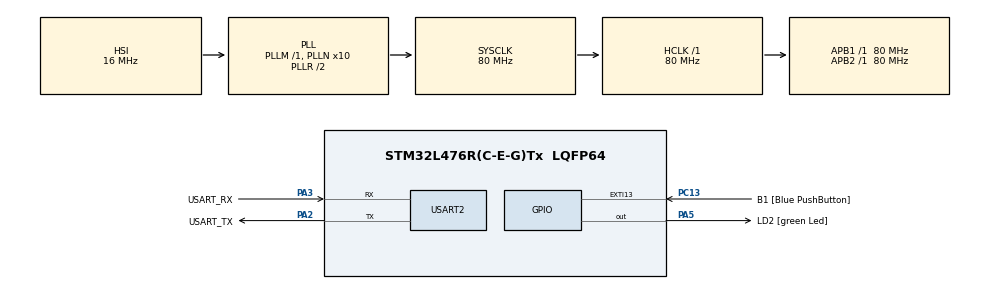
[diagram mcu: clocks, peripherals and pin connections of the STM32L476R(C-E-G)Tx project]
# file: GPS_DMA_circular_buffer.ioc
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Dma.Request0=USART2_RX
Dma.Request1=USART2_TX
Dma.USART2_RX.0.Direction=DMA_PERIPH_TO_MEMORY
Dma.USART2_RX.0.Instance=DMA1_Channel6
Dma.USART2_RX.0.MemDataAlignment=DMA_MDATAALIGN_BYTE
Dma.USART2_RX.0.MemInc=DMA_MINC_ENABLE
Dma.USART2_RX.0.Mode=DMA_CIRCULAR
Dma.USART2_RX.0.PeriphDataAlignment=DMA_PDATAALIGN_BYTE
Dma.USART2_RX.0.PeriphInc=DMA_PINC_DISABLE
Dma.USART2_RX.0.Priority=DMA_PRIORITY_LOW
Dma.USART2_TX.1.Direction=DMA_MEMORY_TO_PERIPH
Dma.USART2_TX.1.Instance=DMA1_Channel7
Dma.USART2_TX.1.MemDataAlignment=DMA_MDATAALIGN_BYTE
Dma.USART2_TX.1.MemInc=DMA_MINC_ENABLE
Dma.USART2_TX.1.Mode=DMA_CIRCULAR
Dma.USART2_TX.1.PeriphDataAlignment=DMA_PDATAALIGN_BYTE
Dma.USART2_TX.1.PeriphInc=DMA_PINC_DISABLE
Dma.USART2_TX.1.Priority=DMA_PRIORITY_LOW
Mcu.Family=STM32L4
Mcu.Name=STM32L476R(C-E-G)Tx
Mcu.Package=LQFP64
NVIC.DMA1_Channel6_IRQn=true\:0\:0\:false\:false\:true\:false\:true
NVIC.DMA1_Channel7_IRQn=true\:0\:0\:false\:false\:true\:false\:true
NVIC.PriorityGroup=NVIC_PRIORITYGROUP_4
NVIC.USART2_IRQn=true\:0\:0\:false\:false\:true\:true\:true
PA13\ (JTMS-SWDIO).GPIO_Label=TMS
PA13\ (JTMS-SWDIO).Mode=Serial_Wire
PA13\ (JTMS-SWDIO).Signal=SYS_JTMS-SWDIO
PA14\ (JTCK-SWCLK).GPIO_Label=TCK
PA14\ (JTCK-SWCLK).Mode=Serial_Wire
PA14\ (JTCK-SWCLK).Signal=SYS_JTCK-SWCLK
PA2.GPIO_Label=USART_TX
PA2.GPIO_Mode=GPIO_MODE_AF_PP
PA2.GPIO_PuPd=GPIO_NOPULL
PA2.GPIO_Speed=GPIO_SPEED_FREQ_VERY_HIGH
PA2.Mode=Asynchronous
PA2.Signal=USART2_TX
PA3.GPIO_Label=USART_RX
PA3.GPIO_Mode=GPIO_MODE_AF_PP
PA3.GPIO_PuPd=GPIO_NOPULL
PA3.GPIO_Speed=GPIO_SPEED_FREQ_VERY_HIGH
PA3.Mode=Asynchronous
PA3.Signal=USART2_RX
PA5.GPIO_Label=LD2 [green Led]
PA5.GPIO_ModeDefaultOutputPP=GPIO_MODE_OUTPUT_PP
PA5.GPIO_PuPd=GPIO_NOPULL
PA5.GPIO_Speed=GPIO_SPEED_FREQ_LOW
PA5.Signal=GPIO_Output
PB3\ (JTDO-TRACESWO).GPIO_Label=SWO
PB3\ (JTDO-TRACESWO).Signal=SYS_JTDO-SWO
PC13.GPIO_Label=B1 [Blue PushButton]
PC13.GPIO_ModeDefaultEXTI=GPIO_MODE_IT_FALLING
PC13.GPIO_PuPd=GPIO_NOPULL
PC13.Signal=GPXTI13
PC14-OSC32_IN\ (PC14).Mode=LSE-External-Oscillator
PC14-OSC32_IN\ (PC14).Signal=RCC_OSC32_IN
PC15-OSC32_OUT\ (PC15).Mode=LSE-External-Oscillator
PC15-OSC32_OUT\ (PC15).Signal=RCC_OSC32_OUT
PH0-OSC_IN\ (PH0).Signal=RCC_OSC_IN
PH1-OSC_OUT\ (PH1).Signal=RCC_OSC_OUT
ProjectManager.HeapSize=0x200
ProjectManager.StackSize=0x400
ProjectManager.TargetToolchain=STM32CubeIDE
RCC.ADCFreq_Value=64000000
RCC.AHBFreq_Value=80000000
RCC.APB1Freq_Value=80000000
RCC.APB1TimFreq_Value=80000000
RCC.APB2Freq_Value=80000000
RCC.APB2TimFreq_Value=80000000
RCC.CortexFreq_Value=80000000
RCC.HCLKFreq_Value=80000000
RCC.HSE_VALUE=8000000
RCC.HSI_VALUE=16000000
RCC.MSI_VALUE=4000000
RCC.PLLN=10
RCC.PLLSourceVirtual=RCC_PLLSOURCE_HSI
RCC.PREFETCH_ENABLE=1
RCC.SYSCLKFreq_VALUE=80000000
RCC.SYSCLKSource=RCC_SYSCLKSOURCE_PLLCLK
RCC.USBFreq_Value=64000000
RCC.VCOOutputFreq_Value=160000000
USART2.VirtualMode-Asynchronous=VM_ASYNC
board=NUCLEO-L476RG

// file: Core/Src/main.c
/* USER CODE BEGIN Header */
/**
  ******************************************************************************
  * @file           : main.c
  * @brief          : Main program body
  ******************************************************************************
  * @attention
  *
  * <h2><center>&copy; Copyright (c) 2020 STMicroelectronics.
  * All rights reserved.</center></h2>
  *
  * This software component is licensed by ST under BSD 3-Clause license,
  * the "License"; You may not use this file except in compliance with the
  * License. You may obtain a copy of the License at:
  *                        opensource.org/licenses/BSD-3-Clause
  *
  ******************************************************************************
  */
/* USER CODE END Header */

#include "main.h"

/* USER CODE BEGIN Includes */
#include <string.h>
#include "gps.h"
/* USER CODE END Includes */

UART_HandleTypeDef huart2;
DMA_HandleTypeDef hdma_usart2_rx;
DMA_HandleTypeDef hdma_usart2_tx;

/* USER CODE BEGIN PV */
volatile uint8_t f_gps_pending_data;
/* DMA Timeout event structure
 * Note: prevCNDTR initial value must be set to maximum size of DMA buffer!
*/
DMA_Event_t dma_uart_rx = {0,0,DMA_BUF_SIZE};

uint8_t dma_rx_buf[DMA_BUF_SIZE];       /* Circular buffer for DMA */
uint8_t data[DMA_BUF_SIZE] = {'\0'};    /* Data buffer that contains newly received data */
/* USER CODE END PV */

void SystemClock_Config(void);
static void MX_GPIO_Init(void);
static void MX_DMA_Init(void);
static void MX_USART2_UART_Init(void);

/* USER CODE BEGIN 0 */

void HAL_UART_RxCpltCallback(UART_HandleTypeDef *huart)
{
    uint16_t i, pos, start, length;
    uint16_t currCNDTR = __HAL_DMA_GET_COUNTER(huart->hdmarx);

    /* Ignore IDLE Timeout when the received characters exactly filled up the DMA buffer and DMA Rx Complete IT is generated, but there is no new character during timeout */
    if(dma_uart_rx.flag && currCNDTR == DMA_BUF_SIZE)
    {
        dma_uart_rx.flag = 0;
        return;
    }

    /* Determine start position in DMA buffer based on previous CNDTR value */
    start = (dma_uart_rx.prevCNDTR < DMA_BUF_SIZE) ? (DMA_BUF_SIZE - dma_uart_rx.prevCNDTR) : 0;

    if(dma_uart_rx.flag)    /* Timeout event */
    {
        /* Determine new data length based on previous DMA_CNDTR value:
         *  If previous CNDTR is less than DMA buffer size: there is old data in DMA buffer (from previous timeout) that has to be ignored.
         *  If CNDTR == DMA buffer size: entire buffer content is new and has to be processed.
        */
        length = (dma_uart_rx.prevCNDTR < DMA_BUF_SIZE) ? (dma_uart_rx.prevCNDTR - currCNDTR) : (DMA_BUF_SIZE - currCNDTR);
        dma_uart_rx.prevCNDTR = currCNDTR;
        dma_uart_rx.flag = 0;
    }
    else                /* DMA Rx Complete event */
    {
        length = DMA_BUF_SIZE - start;
        dma_uart_rx.prevCNDTR = DMA_BUF_SIZE;
    }

    /* Copy and Process new data */
    for(i=0,pos=start; i<length; ++i,++pos)
    {
        data[i] = dma_rx_buf[pos];
    }

    /* Send received data over USB */
    //HAL_UART_Transmit(huart, data, length, 100);
    GPS_store_data(data, length);
    f_gps_pending_data = 1;
}

/* USER CODE END 0 */

int main(void)
{

  /* MCU Configuration--------------------------------------------------------*/

  /* Reset of all peripherals, Initializes the Flash interface and the Systick. */
  HAL_Init();

  /* Configure the system clock */
  SystemClock_Config();

  /* Initialize all configured peripherals */
  MX_GPIO_Init();
  MX_DMA_Init();
  MX_USART2_UART_Init();
  /* USER CODE BEGIN 2 */
  /* Start DMA */
  if(HAL_UART_Receive_DMA(&huart2, (uint8_t*)dma_rx_buf, DMA_BUF_SIZE) != HAL_OK)
  {
      Error_Handler();
  }

  /* Disable Half Transfer Interrupt */
  __HAL_DMA_DISABLE_IT(huart2.hdmarx, DMA_IT_HT);

  /* USER CODE END 2 */

  /* Infinite loop */
  /* USER CODE BEGIN WHILE */
  GPS_init();
  while (1)
  {
	  if(f_gps_pending_data){
		  f_gps_pending_data = 0;
		  GPS_process_data();
	  }
    /* USER CODE END WHILE */

  }
}

void SystemClock_Config(void)
{
  RCC_OscInitTypeDef RCC_OscInitStruct = {0};
  RCC_ClkInitTypeDef RCC_ClkInitStruct = {0};
  RCC_PeriphCLKInitTypeDef PeriphClkInit = {0};

  /** Initializes the CPU, AHB and APB busses clocks
  */
  RCC_OscInitStruct.OscillatorType = RCC_OSCILLATORTYPE_HSI;
  RCC_OscInitStruct.HSIState = RCC_HSI_ON;
  RCC_OscInitStruct.HSICalibrationValue = RCC_HSICALIBRATION_DEFAULT;
  RCC_OscInitStruct.PLL.PLLState = RCC_PLL_ON;
  RCC_OscInitStruct.PLL.PLLSource = RCC_PLLSOURCE_HSI;
  RCC_OscInitStruct.PLL.PLLM = 1;
  RCC_OscInitStruct.PLL.PLLN = 10;
  RCC_OscInitStruct.PLL.PLLP = RCC_PLLP_DIV7;
  RCC_OscInitStruct.PLL.PLLQ = RCC_PLLQ_DIV2;
  RCC_OscInitStruct.PLL.PLLR = RCC_PLLR_DIV2;
  if (HAL_RCC_OscConfig(&RCC_OscInitStruct) != HAL_OK)
  {
    Error_Handler();
  }
  /** Initializes the CPU, AHB and APB busses clocks
  */
  RCC_ClkInitStruct.ClockType = RCC_CLOCKTYPE_HCLK|RCC_CLOCKTYPE_SYSCLK
                              |RCC_CLOCKTYPE_PCLK1|RCC_CLOCKTYPE_PCLK2;
  RCC_ClkInitStruct.SYSCLKSource = RCC_SYSCLKSOURCE_PLLCLK;
  RCC_ClkInitStruct.AHBCLKDivider = RCC_SYSCLK_DIV1;
  RCC_ClkInitStruct.APB1CLKDivider = RCC_HCLK_DIV1;
  RCC_ClkInitStruct.APB2CLKDivider = RCC_HCLK_DIV1;

  if (HAL_RCC_ClockConfig(&RCC_ClkInitStruct, FLASH_LATENCY_4) != HAL_OK)
  {
    Error_Handler();
  }
  PeriphClkInit.PeriphClockSelection = RCC_PERIPHCLK_USART2;
  PeriphClkInit.Usart2ClockSelection = RCC_USART2CLKSOURCE_PCLK1;
  if (HAL_RCCEx_PeriphCLKConfig(&PeriphClkInit) != HAL_OK)
  {
    Error_Handler();
  }
  /** Configure the main internal regulator output voltage
  */
  if (HAL_PWREx_ControlVoltageScaling(PWR_REGULATOR_VOLTAGE_SCALE1) != HAL_OK)
  {
    Error_Handler();
  }
}

static void MX_USART2_UART_Init(void)
{

  huart2.Instance = USART2;
  huart2.Init.BaudRate = 115200;
  huart2.Init.WordLength = UART_WORDLENGTH_8B;
  huart2.Init.StopBits = UART_STOPBITS_1;
  huart2.Init.Parity = UART_PARITY_NONE;
  huart2.Init.Mode = UART_MODE_TX_RX;
  huart2.Init.HwFlowCtl = UART_HWCONTROL_NONE;
  huart2.Init.OverSampling = UART_OVERSAMPLING_16;
  huart2.Init.OneBitSampling = UART_ONE_BIT_SAMPLE_DISABLE;
  huart2.AdvancedInit.AdvFeatureInit = UART_ADVFEATURE_NO_INIT;
  if (HAL_UART_Init(&huart2) != HAL_OK)
  {
    Error_Handler();
  }
  /* USER CODE BEGIN USART2_Init 2 */
  /* UART2 IDLE Interrupt Configuration */
  SET_BIT(USART2->CR1, USART_CR1_IDLEIE);
  HAL_NVIC_SetPriority(USART2_IRQn, 0, 0);
  HAL_NVIC_EnableIRQ(USART2_IRQn);
  /* USER CODE END USART2_Init 2 */

}

static void MX_DMA_Init(void)
{

  /* DMA controller clock enable */
  __HAL_RCC_DMA1_CLK_ENABLE();

  /* DMA interrupt init */
  /* DMA1_Channel6_IRQn interrupt configuration */
  HAL_NVIC_SetPriority(DMA1_Channel6_IRQn, 0, 0);
  HAL_NVIC_EnableIRQ(DMA1_Channel6_IRQn);
  /* DMA1_Channel7_IRQn interrupt configuration */
  HAL_NVIC_SetPriority(DMA1_Channel7_IRQn, 0, 0);
  HAL_NVIC_EnableIRQ(DMA1_Channel7_IRQn);

}

static void MX_GPIO_Init(void)
{
  GPIO_InitTypeDef GPIO_InitStruct = {0};

  /* GPIO Ports Clock Enable */
  __HAL_RCC_GPIOC_CLK_ENABLE();
  __HAL_RCC_GPIOH_CLK_ENABLE();
  __HAL_RCC_GPIOA_CLK_ENABLE();
  __HAL_RCC_GPIOB_CLK_ENABLE();

  /*Configure GPIO pin Output Level */
  HAL_GPIO_WritePin(LD2_GPIO_Port, LD2_Pin, GPIO_PIN_RESET);

  /*Configure GPIO pin : B1_Pin */
  GPIO_InitStruct.Pin = B1_Pin;
  GPIO_InitStruct.Mode = GPIO_MODE_IT_FALLING;
  GPIO_InitStruct.Pull = GPIO_NOPULL;
  HAL_GPIO_Init(B1_GPIO_Port, &GPIO_InitStruct);

  /*Configure GPIO pin : LD2_Pin */
  GPIO_InitStruct.Pin = LD2_Pin;
  GPIO_InitStruct.Mode = GPIO_MODE_OUTPUT_PP;
  GPIO_InitStruct.Pull = GPIO_NOPULL;
  GPIO_InitStruct.Speed = GPIO_SPEED_FREQ_LOW;
  HAL_GPIO_Init(LD2_GPIO_Port, &GPIO_InitStruct);

}

void Error_Handler(void)
{
  /* USER CODE BEGIN Error_Handler_Debug */
  /* User can add his own implementation to report the HAL error return state */
	HAL_GPIO_WritePin(GPIOA, GPIO_PIN_5, GPIO_PIN_SET);
  /* USER CODE END Error_Handler_Debug */
}

/************************ (C) COPYRIGHT STMicroelectronics *****END OF FILE****/
